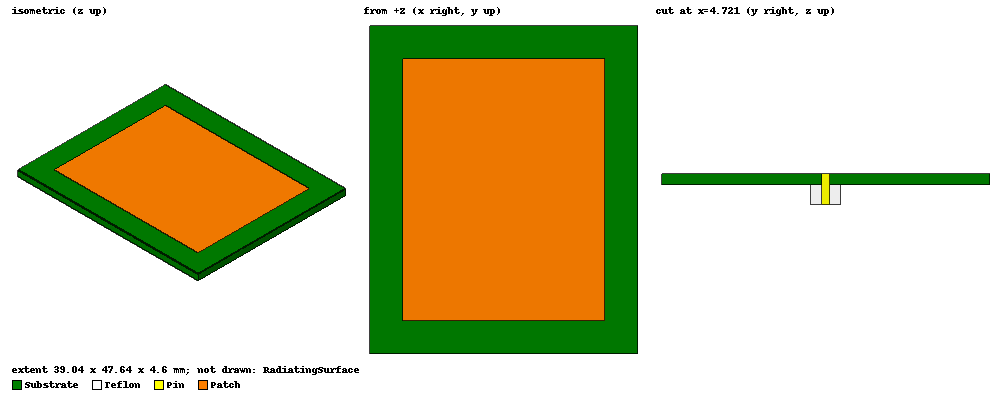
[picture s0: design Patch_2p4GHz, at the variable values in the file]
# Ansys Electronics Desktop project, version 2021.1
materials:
  vacuum: permittivity=1
  FR4_epoxy: permittivity=4.4 dielectric_loss_tangent=0.02
  pec: conductivity=1e+30
  Teflon (tm): permittivity=2.1 dielectric_loss_tangent=0.001

design Patch_2p4GHz (HFSS, DrivenModal, model units mm)
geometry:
  Substrate [FR4_epoxy] = box(corner=(-19.5212mm, -23.8181mm, 0mm), size=(39.0424mm, 47.6363mm, 1.6mm))
  Patch = rectangle(corner=(-14.7212mm, -19.0181mm, 1.6mm), x_size=29.4424mm, y_size=38.0363mm)
  Ground = rectangle(corner=(-19.5212mm, -23.8181mm, 0mm), x_size=39.0424mm, y_size=47.6363mm)
  Hole = circle(normal=Z, centre=(4.7212mm, 0mm, 0mm), radius=2.18mm)
  Ground.subtract(Hole)
  Pin [pec] = cylinder(axis=Z, base_centre=(4.7212mm, 0mm, -3mm), radius=0.65mm, height=4.6mm)
  Teflon [Teflon (tm)] = cylinder(axis=Z, base_centre=(4.7212mm, 0mm, -3mm), radius=2.18mm, height=3mm)
  Pin_1 = Pin.copy()
  Substrate.subtract(Pin_1)
  Pin_2 = Pin.copy()
  Teflon.subtract(Pin_2)
  RadiatingSurface [vacuum] = region(absolute_offset=41.666667mm on all sides)
  Circle1 = circle(normal=Z, centre=(4.7212mm, 0mm, -3mm), radius=2.18mm)
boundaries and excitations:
  PerfE1: Perfect E Objects=Ground
  PerfE2: Perfect E Objects=Patch
  Open1: Radiation Objects=RadiatingSurface
  1: Lumped Port Objects=Circle1 Modes{Mode1{IntLine{centre of Circle1.face -> Circle1.vertex(1 of 1)} CharImp=Zpi RenormImp=50ohm}} Impedance=50ohm
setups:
  Setup1: HfssDrivenAuto AutoSolverSetting=Balanced Type=Interpolating
    sweep Sweep: 1GHz to 10GHz, 101 points;
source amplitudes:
  1:1: 1W 0deg
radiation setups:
  3D: Infinite Sphere Theta=0deg..180deg step 2deg Phi=-180deg..180deg step 2deg
  Elevation: Infinite Sphere Theta=-180deg..180deg step 1deg Phi=0deg..90deg step 90deg
  Azimuth: Infinite Sphere Theta=90deg..90deg step 0deg Phi=-180deg..180deg step 1deg
  Infinite Sphere1: Infinite Sphere Theta=-180deg..180deg step 10deg Phi=0deg..360deg step 10deg
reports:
  S Parameter Plot 1: dB(S(1,1)) vs Freq on Setup1 : Sweep
  VSWR Plot 1: VSWR(1) vs Freq on Setup1 : Sweep
  Gain Plot 1: GainTotal vs Phi, Theta on Setup1 : LastAdaptive, 3D [Freq=5.5GHz]
